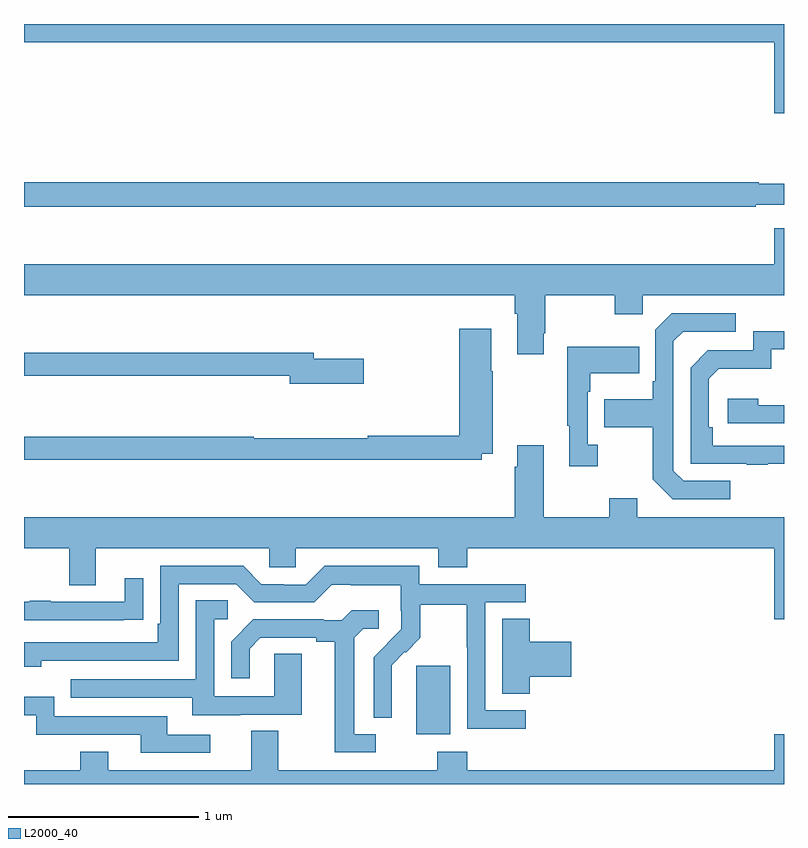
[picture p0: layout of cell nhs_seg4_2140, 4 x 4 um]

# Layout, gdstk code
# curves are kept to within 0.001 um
import gdstk
lib = gdstk.Library(unit=1e-6, precision=1e-09)
def R(c, l, rs):  # rectangles x0, y0, x1, y1
    for r in rs: c.add(gdstk.rectangle(r[:2], r[2:], *l))
def P(c, l, *ps):  # polygons
    for p in ps: c.add(gdstk.Polygon(p, *l))
L2000_40 = (2000, 40)

nhs_seg4_2140 = lib.new_cell('nhs_seg4_2140')
R(nhs_seg4_2140, L2000_40, [(223.064,809.162,223.243,809.523)])
P(nhs_seg4_2140, L2000_40, [(221,812.804),(224.948,812.804),(224.948,812.43),(225,812.43),(225,812.9),(221,812.9)],
  [(224.852,811.95),(225,811.95),(225,812.059),(224.866,812.059),(224.866,812.066),(221,812.066),(221,811.938),(224.852,811.938)],
  [(223.735,811.273),(223.743,811.273),(223.743,811.472),(224.11,811.472),(224.11,811.373),(224.256,811.373),(224.256,811.472),(225,811.472),(225,811.825),(224.948,811.825),(224.948,811.636),(221,811.636),(221,811.472),(223.583,811.472),(223.583,811.376),(223.595,811.376),(223.595,811.161),(223.735,811.161)],
  [(224.716,810.495),(224.472,810.495),(224.418,810.549),(224.418,811.23),(224.469,811.281),(224.746,811.281),(224.746,811.377),(224.409,811.377),(224.322,811.29),(224.322,811.021),(224.31,811.021),(224.31,810.925),(224.053,810.925),(224.053,810.778),(224.31,810.778),(224.31,810.505),(224.415,810.399),(224.716,810.399)],
  [(223.41,810.638),(223.467,810.638),(223.467,811.073),(223.459,811.073),(223.459,811.297),(223.292,811.297),(223.292,810.734),(222.808,810.734),(222.808,810.719),(222.208,810.719),(222.208,810.727),(221,810.727),(221,810.606),(223.41,810.606)],
  [(224.915,810.585),(225,810.585),(225,810.681),(224.624,810.681),(224.624,810.778),(224.604,810.778),(224.604,811.032),(224.657,811.085),(224.934,811.085),(224.934,811.188),(225,811.188),(225,811.284),(224.838,811.284),(224.838,811.182),(224.598,811.182),(224.508,811.092),(224.508,810.585),(224.803,810.585),(224.803,810.58),(224.915,810.58)],
  [(224.02,810.686),(223.968,810.686),(223.968,810.965),(223.981,810.965),(223.981,811.061),(224.237,811.061),(224.237,811.201),(223.86,811.201),(223.86,810.785),(223.871,810.785),(223.871,810.573),(224.02,810.573)],
  [(222.787,811.137),(222.526,811.137),(222.526,811.171),(221,811.171),(221,811.05),(222.398,811.05),(222.398,811.007),(222.787,811.007)],
  [(225,810.894),(224.864,810.894),(224.864,810.928),(224.703,810.928),(224.703,810.798),(225,810.798)],
  [(225,810.304),(224.227,810.304),(224.227,810.403),(224.08,810.403),(224.08,810.304),(223.735,810.304),(223.735,810.682),(223.595,810.682),(223.595,810.569),(223.583,810.569),(223.583,810.304),(221,810.304),(221,810.14),(221.237,810.14),(221.237,809.946),(221.377,809.946),(221.377,810.14),(222.291,810.14),(222.291,810.042),(222.429,810.042),(222.429,810.14),(223.181,810.14),(223.181,810.041),(223.334,810.041),(223.334,810.14),(224.948,810.14),(224.948,809.766),(225,809.766)],
  [(223.642,809.289),(223.428,809.289),(223.428,809.856),(223.642,809.856),(223.642,809.952),(223.08,809.952),(223.08,810.049),(222.583,810.049),(222.483,809.949),(222.368,809.949),(222.368,809.952),(222.249,809.952),(222.153,810.048),(221.718,810.048),(221.718,809.743),(221.705,809.743),(221.705,809.646),(221,809.646),(221,809.516),(221.09,809.516),(221.09,809.55),(221.814,809.55),(221.814,809.952),(222.117,809.952),(222.213,809.856),(222.528,809.856),(222.621,809.949),(222.721,809.949),(222.721,809.945),(222.984,809.945),(222.984,809.811),(222.986,809.811),(222.986,809.714),(222.84,809.566),(222.84,809.248),(222.936,809.248),(222.935,809.525),(223.005,809.595),(223.008,809.592),(223.085,809.669),(223.085,809.844),(223.33,809.844),(223.33,809.62),(223.332,809.62),(223.332,809.191),(223.642,809.191)],
  [(221.525,809.764),(221.627,809.764),(221.627,809.983),(221.531,809.983),(221.531,809.859),(221.141,809.859),(221.141,809.864),(221.029,809.864),(221.029,809.859),(221,809.859),(221,809.763),(221.525,809.763)],
  [(222.139,809.265),(222.463,809.265),(222.463,809.585),(222.318,809.585),(222.318,809.361),(222,809.361),(222,809.766),(222.073,809.766),(222.073,809.867),(221.904,809.867),(221.904,809.451),(221.245,809.451),(221.245,809.355),(221.885,809.355),(221.885,809.261),(222.139,809.261)],
  [(222.85,809.163),(222.739,809.163),(222.739,809.671),(222.786,809.718),(222.868,809.718),(222.868,809.815),(222.724,809.815),(222.672,809.763),(222.578,809.763),(222.578,809.766),(222.206,809.766),(222.09,809.65),(222.09,809.457),(222.187,809.457),(222.187,809.613),(222.244,809.67),(222.539,809.67),(222.539,809.648),(222.635,809.648),(222.635,809.067),(222.85,809.067)],
  [(223.661,809.465),(223.879,809.465),(223.879,809.648),(223.661,809.648),(223.661,809.771),(223.517,809.771),(223.517,809.374),(223.661,809.374)],
  [(221.98,809.16),(221.755,809.16),(221.755,809.256),(221.16,809.256),(221.16,809.359),(221,809.359),(221,809.262),(221.064,809.262),(221.064,809.16),(221.615,809.16),(221.615,809.064),(221.98,809.064)],
  [(225,809.161),(224.948,809.161),(224.948,808.972),(223.334,808.972),(223.334,809.071),(223.174,809.071),(223.174,808.972),(222.337,808.972),(222.337,809.18),(222.197,809.18),(222.197,808.972),(221.443,808.972),(221.443,809.071),(221.296,809.071),(221.296,808.972),(221,808.972),(221,808.9),(225,808.9)])

lib.write_gds('nhs_seg4_2140.gds')
